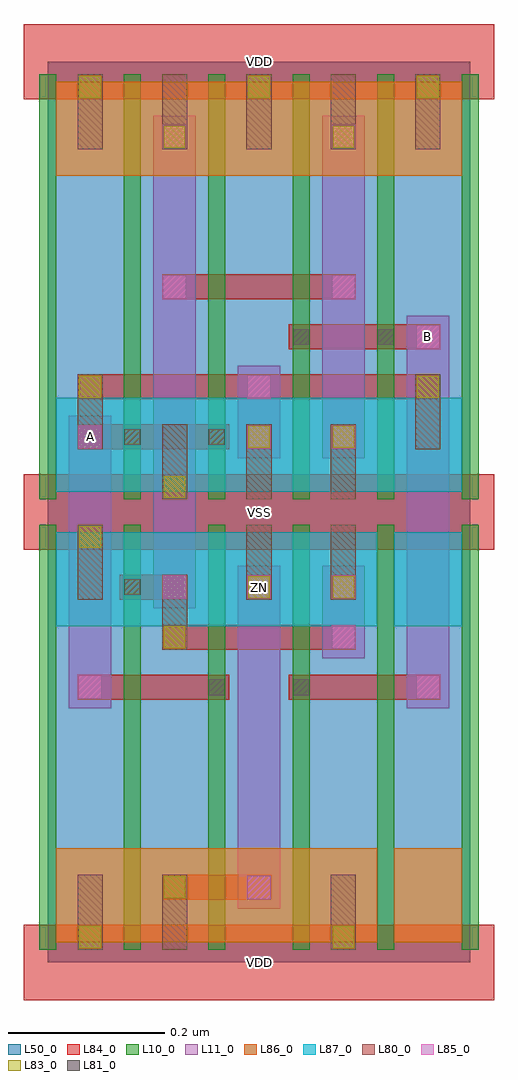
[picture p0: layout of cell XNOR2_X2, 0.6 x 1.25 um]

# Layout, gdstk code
import gdstk
lib = gdstk.Library(unit=1e-6, precision=1e-09)
def R(c, l, rs):  # rectangles x0, y0, x1, y1
    for r in rs: c.add(gdstk.rectangle(r[:2], r[2:], *l))
def A(c, l, x, y, w, h, nx, ny, dx, dy):  # array of equal rectangles
    R(c, l, [(x+i*dx, y+j*dy, x+i*dx+w, y+j*dy+h) for i in range(nx) for j in range(ny)])
L10_0 = (10, 0)
L11_0 = (11, 0)
L50_0 = (50, 0)
L80_0 = (80, 0)
L81_0 = (81, 0)
L83_0 = (83, 0)
L84_0 = (84, 0)
L85_0 = (85, 0)
L86_0 = (86, 0)
L87_0 = (87, 0)

xnor2_x2 = lib.new_cell('XNOR2_X2')
A(xnor2_x2, L10_0, -0.011, 0.016, 0.022, 0.544, 6, 2, 0.108, 0.576)
R(xnor2_x2, L11_0, [(0.243,0.069,0.297,0.507), (0.027,0.325,0.081,0.699), (0.459,0.325,0.513,0.827), (0.351,0.389,0.405,0.507), (0.135,0.453,0.189,1.083), (0.243,0.645,0.297,0.763), (0.351,0.645,0.405,1.083)])
R(xnor2_x2, L50_0, [(0,0,0.54,1.152)])
A(xnor2_x2, L80_0, 0.146, 0.592, 0.032, 0.096, 3, 1, 0.108, 0)
A(xnor2_x2, L80_0, 0.038, 1.04, 0.032, 0.096, 5, 1, 0.108, 0)
R(xnor2_x2, L80_0, [(0.038,0.016,0.07,0.112), (0.146,0.016,0.178,0.112), (0.362,0.016,0.394,0.112), (0.146,0.4,0.178,0.496), (0.038,0.464,0.07,0.56), (0.254,0.464,0.286,0.56), (0.362,0.464,0.394,0.56), (0.038,0.656,0.07,0.752), (0.47,0.656,0.502,0.752)])
R(xnor2_x2, L81_0, [(0.206,0.342,0.226,0.362), (0.314,0.342,0.334,0.362), (0.098,0.47,0.118,0.49), (0.098,0.662,0.118,0.682), (0.206,0.662,0.226,0.682), (0.314,0.79,0.334,0.81), (0.422,0.79,0.442,0.81)])
A(xnor2_x2, L83_0, 0.04, 1.106, 0.028, 0.028, 3, 1, 0.216, 0)
R(xnor2_x2, L83_0, [(0.04,0.018,0.068,0.046), (0.364,0.018,0.392,0.046), (0.148,0.082,0.176,0.11), (0.148,0.402,0.176,0.43), (0.256,0.466,0.284,0.494), (0.364,0.466,0.392,0.494), (0.04,0.53,0.068,0.558), (0.148,0.594,0.176,0.622), (0.256,0.658,0.284,0.686), (0.364,0.658,0.392,0.686), (0.04,0.722,0.068,0.75), (0.472,0.722,0.5,0.75), (0.148,1.042,0.176,1.07), (0.364,1.042,0.392,1.07)])
A(xnor2_x2, L84_0, -0.031, -0.048, 0.602, 0.096, 1, 3, 0, 0.576)
R(xnor2_x2, L84_0, [(0.146,0.08,0.286,0.112), (0.038,0.336,0.232,0.368), (0.308,0.336,0.502,0.368), (0.146,0.4,0.394,0.432), (0.092,0.464,0.178,0.496), (0.254,0.464,0.286,0.496), (0.362,0.464,0.394,0.496), (0.038,0.656,0.232,0.688), (0.254,0.656,0.286,0.688), (0.362,0.656,0.394,0.688), (0.038,0.72,0.502,0.752), (0.308,0.784,0.502,0.816), (0.146,0.848,0.394,0.88), (0.146,1.04,0.178,1.072), (0.362,1.04,0.394,1.072)])
A(xnor2_x2, L85_0, 0.147, 0.465, 0.03, 0.03, 3, 1, 0.108, 0)
A(xnor2_x2, L85_0, 0.363, 0.657, 0.03, 0.03, 1, 3, 0, 0.192)
R(xnor2_x2, L85_0, [(0.255,0.081,0.285,0.111), (0.039,0.337,0.069,0.367), (0.471,0.337,0.501,0.367), (0.363,0.401,0.393,0.431), (0.039,0.657,0.069,0.687), (0.255,0.657,0.285,0.687), (0.255,0.721,0.285,0.751), (0.471,0.785,0.501,0.815), (0.147,0.849,0.177,0.879), (0.147,1.041,0.177,1.071)])
R(xnor2_x2, L86_0, [(0.011,0.026,0.421,0.146), (0.443,0.026,0.529,0.146), (0.011,1.006,0.529,1.126)])
R(xnor2_x2, L87_0, [(0.011,0.43,0.421,0.55), (0.443,0.43,0.529,0.55), (0.011,0.602,0.529,0.722)])
xnor2_x2.add(gdstk.Label('VDD', (0.27,1.152), layer=88, texttype=0))
xnor2_x2.add(gdstk.Label('VDD', (0.27,0), layer=88, texttype=0))
xnor2_x2.add(gdstk.Label('VSS', (0.27,0.576), layer=88, texttype=0))
xnor2_x2.add(gdstk.Label('ZN', (0.27,0.48), layer=31, texttype=0))
xnor2_x2.add(gdstk.Label('A', (0.054,0.672), layer=31, texttype=0))
xnor2_x2.add(gdstk.Label('B', (0.486,0.8), layer=31, texttype=0))

lib.write_gds('XNOR2_X2.gds')
